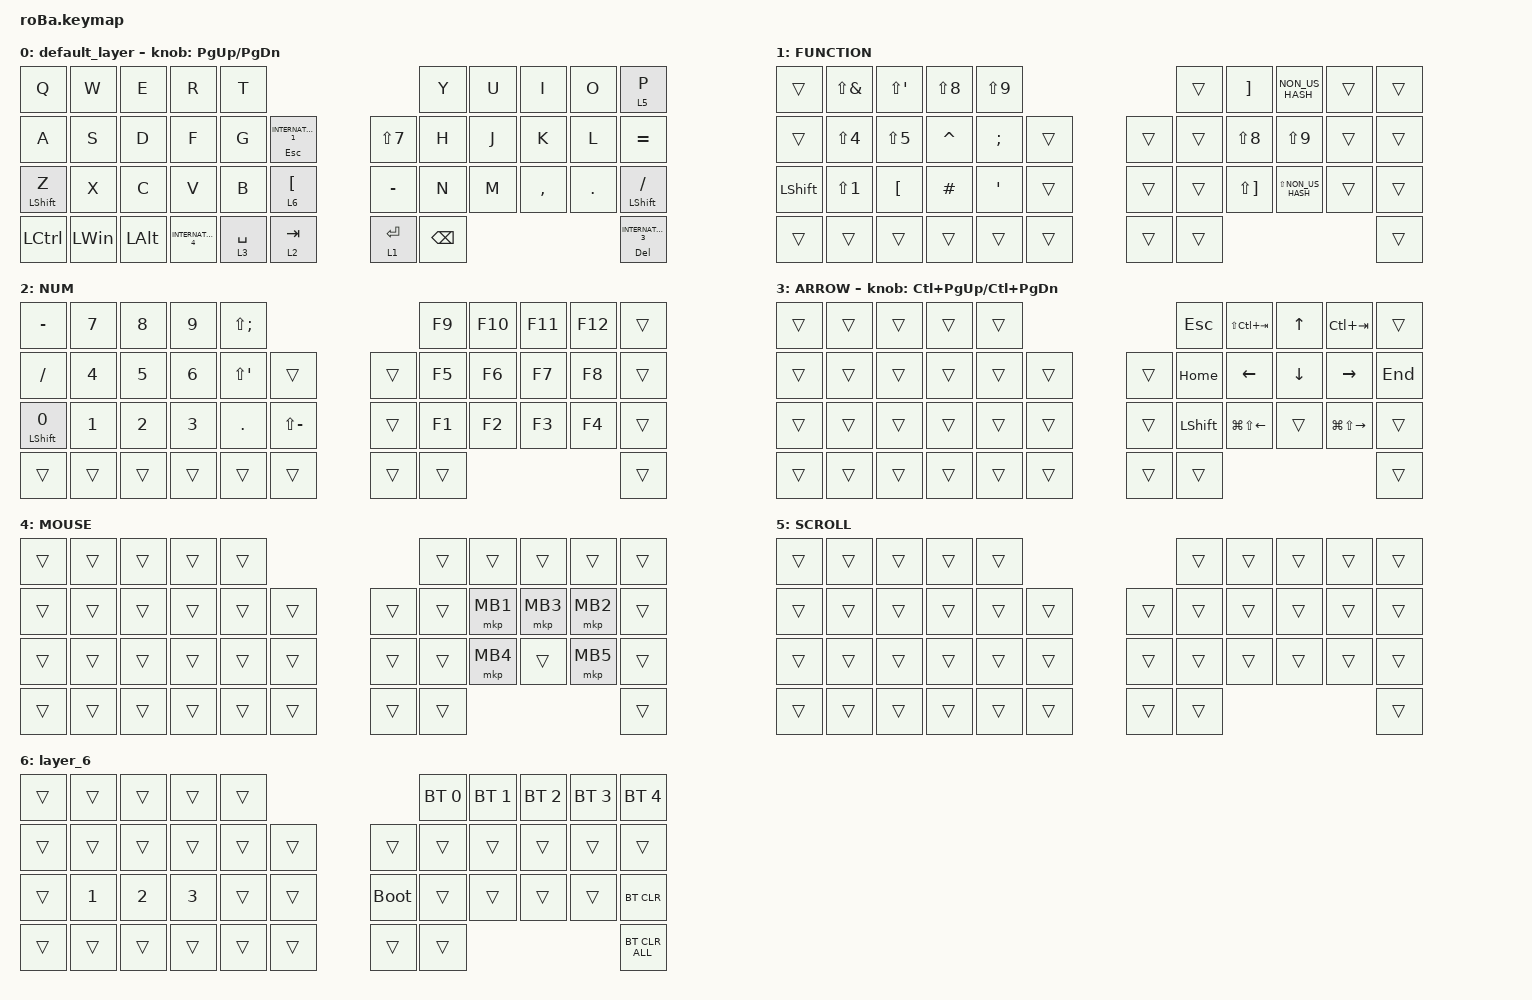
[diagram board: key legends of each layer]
#include <behaviors.dtsi>
#include <dt-bindings/zmk/bt.h>
#include <dt-bindings/zmk/keys.h>
#include <dt-bindings/zmk/pointing.h>

&mt {
    flavor = "balanced";
    quick-tap-ms = <0>;
};

&trackball {
    automouse-layer = <4>;
    scroll-layers = <5>;

    // arrows {
    //     layers = <3>;
    //     bindings =
    //         <&kp RIGHT_ARROW>,
    //         <&kp LEFT_ARROW>,
    //         <&kp UP_ARROW>,
    //         <&kp DOWN_ARROW>;
    //     tick = <10>;
    //     wait-ms = <5>;
    //     tap-ms = <5>;
    // };
};

/ {
    combos {
        compatible = "zmk,combos";

        tab {
            bindings = <&kp TAB>;
            key-positions = <11 12>;
        };

        shift_tab {
            bindings = <&kp LS(TAB)>;
            key-positions = <12 13>;
        };

        muhennkann {
            bindings = <&to_layer_0 INT_MUHENKAN>;
            key-positions = <11 10>;
        };

        double_quotation {
            bindings = <&kp DOUBLE_QUOTES>;
            key-positions = <20 21>;
        };

        eq {
            bindings = <&kp EQUAL>;
            key-positions = <24 25>;
        };
    };

    macros {
        to_layer_0: to_layer_0 {
            compatible = "zmk,behavior-macro-one-param";
            #binding-cells = <1>;
            bindings = <&to 0 &macro_param_1to1 &kp MACRO_PLACEHOLDER>;
            label = "TO_LAYER_0";
        };
    };

    behaviors {
        lt_to_layer_0: lt_to_layer_0 {
            compatible = "zmk,behavior-hold-tap";
            label = "LAYER_TAP_TO_0";
            bindings = <&mo>, <&to_layer_0>;

            #binding-cells = <2>;
            tapping-term-ms = <200>;
        };
    };

    keymap {
        compatible = "zmk,keymap";

        default_layer {
            bindings = <
&kp Q             &kp W         &kp E         &kp R                &kp T                                                     &kp Y          &kp U  &kp I      &kp O    &lt 5 P
&kp A             &kp S         &kp D         &kp F                &kp G        &mt ESCAPE INTERNATIONAL_1      &kp LS(N7)   &kp H          &kp J  &kp K      &kp L    &kp EQUAL
&mt LEFT_SHIFT Z  &kp X         &kp C         &kp V                &kp B        &lt 6 LEFT_BRACKET              &kp MINUS    &kp N          &kp M  &kp COMMA  &kp DOT  &mt LEFT_SHIFT SLASH
&kp LCTRL         &kp LEFT_WIN  &kp LEFT_ALT  &kp INTERNATIONAL_4  &lt 3 SPACE  &lt 2 TAB                       &lt 1 ENTER  &kp BACKSPACE                             &mt DEL INTERNATIONAL_3
            >;

            sensor-bindings = <&inc_dec_kp PG_UP PAGE_DOWN>;
        };

        FUNCTION {
            bindings = <
&trans          &kp LS(AMPERSAND)  &kp LS(SINGLE_QUOTE)  &kp LS(N8)  &kp LS(N9)                            &trans  &kp RIGHT_BRACKET      &kp NON_US_HASH      &trans  &trans
&trans          &kp LS(NUMBER_4)   &kp LS(N5)            &kp CARET   &kp SEMI          &trans      &trans  &trans  &kp LS(N8)             &kp LS(N9)           &trans  &trans
&kp LEFT_SHIFT  &kp LS(NUMBER_1)   &kp LEFT_BRACKET      &kp HASH    &kp SINGLE_QUOTE  &trans      &trans  &trans  &kp LS(RIGHT_BRACKET)  &kp LS(NON_US_HASH)  &trans  &trans
&trans          &trans             &trans                &trans      &trans            &trans      &trans  &trans                                                      &trans
            >;
        };

        NUM {
            bindings = <
&kp MINUS                &kp NUMBER_7  &kp NUMBER_8  &kp NUMBER_9  &kp LS(SEMI)                                     &kp F9  &kp F10  &kp F11  &kp F12  &trans
&kp SLASH                &kp NUMBER_4  &kp NUMBER_5  &kp NUMBER_6  &kp LS(SINGLE_QUOTE)  &trans             &trans  &kp F5  &kp F6   &kp F7   &kp F8   &trans
&mt LEFT_SHIFT NUMBER_0  &kp NUMBER_1  &kp NUMBER_2  &kp NUMBER_3  &kp PERIOD            &kp LS(MINUS)      &trans  &kp F1  &kp F2   &kp F3   &kp F4   &trans
&trans                   &trans        &trans        &trans        &trans                &trans             &trans  &trans                             &trans
            >;
        };

        ARROW {
            bindings = <
&trans  &trans  &trans  &trans  &trans                      &kp ESCAPE      &kp LS(LC(TAB))         &kp UP_ARROW    &kp LC(TAB)              &trans
&trans  &trans  &trans  &trans  &trans  &trans      &trans  &kp HOME        &kp LEFT_ARROW          &kp DOWN_ARROW  &kp RIGHT_ARROW          &kp END
&trans  &trans  &trans  &trans  &trans  &trans      &trans  &kp LEFT_SHIFT  &kp LG(LS(LEFT_ARROW))  &trans          &kp LG(LS(RIGHT_ARROW))  &trans
&trans  &trans  &trans  &trans  &trans  &trans      &trans  &trans                                                                           &trans
            >;

            sensor-bindings = <&inc_dec_kp LC(PAGE_UP) LC(PAGE_DOWN)>;
        };

        MOUSE {
            bindings = <
&trans  &trans  &trans  &trans  &trans                      &trans  &trans    &trans    &trans    &trans
&trans  &trans  &trans  &trans  &trans  &trans      &trans  &trans  &mkp MB1  &mkp MB3  &mkp MB2  &trans
&trans  &trans  &trans  &trans  &trans  &trans      &trans  &trans  &mkp MB4  &trans    &mkp MB5  &trans
&trans  &trans  &trans  &trans  &trans  &trans      &trans  &trans                                &trans
            >;
        };

        SCROLL {
            bindings = <
&trans  &trans  &trans  &trans  &trans                      &trans  &trans  &trans  &trans  &trans
&trans  &trans  &trans  &trans  &trans  &trans      &trans  &trans  &trans  &trans  &trans  &trans
&trans  &trans  &trans  &trans  &trans  &trans      &trans  &trans  &trans  &trans  &trans  &trans
&trans  &trans  &trans  &trans  &trans  &trans      &trans  &trans                          &trans
            >;
        };

        layer_6 {
            bindings = <
&trans  &trans        &trans        &trans        &trans                           &bt BT_SEL 0  &bt BT_SEL 1  &bt BT_SEL 2  &bt BT_SEL 3  &bt BT_SEL 4
&trans  &trans        &trans        &trans        &trans  &trans      &trans       &trans        &trans        &trans        &trans        &trans
&trans  &kp NUMBER_1  &kp NUMBER_2  &kp NUMBER_3  &trans  &trans      &bootloader  &trans        &trans        &trans        &trans        &bt BT_CLR
&trans  &trans        &trans        &trans        &trans  &trans      &trans       &trans                                                  &bt BT_CLR_ALL
            >;
        };
    };
};
